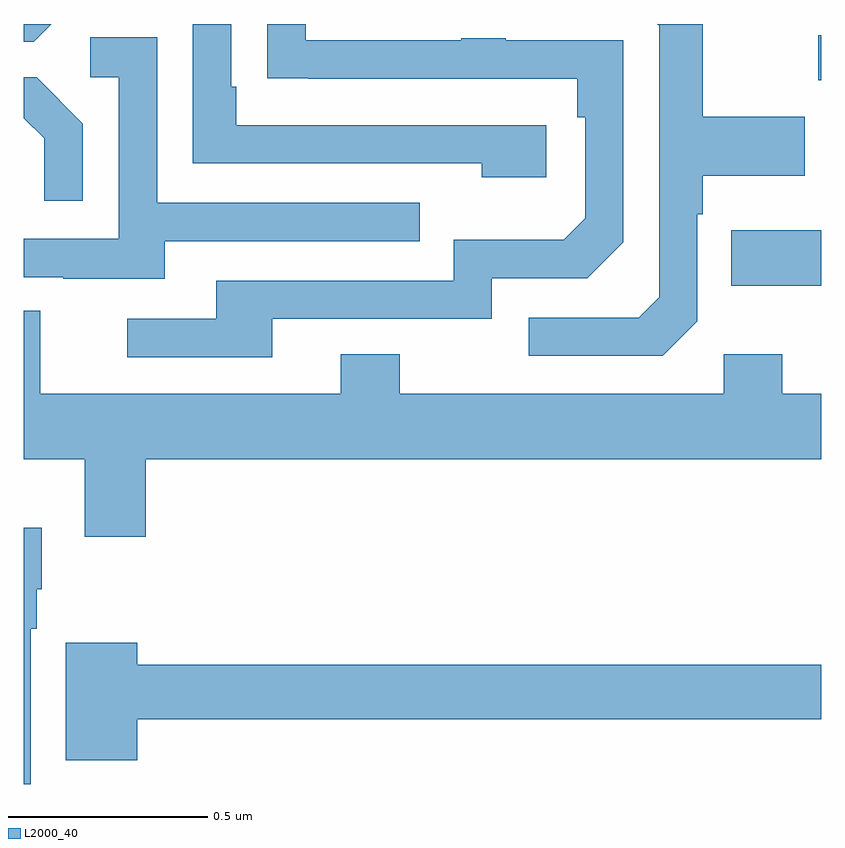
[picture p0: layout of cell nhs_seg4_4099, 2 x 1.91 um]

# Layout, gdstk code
import gdstk
lib = gdstk.Library(unit=1e-6, precision=1e-09)
def R(c, l, rs):  # rectangles x0, y0, x1, y1
    for r in rs: c.add(gdstk.rectangle(r[:2], r[2:], *l))
def P(c, l, *ps):  # polygons
    for p in ps: c.add(gdstk.Polygon(p, *l))
L2000_40 = (2000, 40)

nhs_seg4_4099 = lib.new_cell('nhs_seg4_4099')
R(nhs_seg4_4099, L2000_40, [(162.775,809.243,163,809.383), (162.993,809.759,163,809.872)])
P(nhs_seg4_4099, L2000_40, [(161.069,809.9),(161,809.9),(161,809.856),(161.025,809.856)],
  [(162.31,809.646),(161.533,809.646),(161.533,809.743),(161.52,809.743),(161.52,809.9),(161.424,809.9),(161.424,809.55),(162.149,809.55),(162.149,809.516),(162.31,809.516)],
  [(161.623,809.16),(162.174,809.16),(162.174,809.262),(162.414,809.262),(162.504,809.352),(162.504,809.859),(162.209,809.859),(162.209,809.864),(162.097,809.864),(162.097,809.859),(161.707,809.859),(161.707,809.9),(161.611,809.9),(161.611,809.764),(161.713,809.764),(161.713,809.763),(162.388,809.763),(162.388,809.666),(162.408,809.666),(162.408,809.412),(162.355,809.359),(162.078,809.359),(162.078,809.256),(161.483,809.256),(161.483,809.16),(161.259,809.16),(161.259,809.064),(161.623,809.064)],
  [(162.69,809.154),(162.69,809.423),(162.703,809.423),(162.703,809.519),(162.959,809.519),(162.959,809.667),(162.703,809.667),(162.703,809.9),(162.589,809.9),(162.594,809.895),(162.594,809.214),(162.543,809.163),(162.267,809.163),(162.267,809.067),(162.603,809.067)],
  [(161.353,809.355),(161.993,809.355),(161.993,809.451),(161.334,809.451),(161.334,809.867),(161.166,809.867),(161.166,809.766),(161.238,809.766),(161.238,809.361),(161,809.361),(161,809.265),(161.099,809.265),(161.099,809.261),(161.353,809.261)],
  [(161.148,809.65),(161.032,809.766),(161,809.766),(161,809.664),(161.051,809.613),(161.051,809.457),(161.148,809.457)],
  [(161.306,808.808),(163,808.808),(163,808.972),(162.903,808.972),(162.903,809.071),(162.756,809.071),(162.756,808.972),(161.943,808.972),(161.943,809.071),(161.795,809.071),(161.795,808.972),(161.041,808.972),(161.041,809.18),(161,809.18),(161,808.808),(161.153,808.808),(161.153,808.614),(161.306,808.614)],
  [(161.017,808.382),(161.032,808.382),(161.032,808.482),(161.044,808.482),(161.044,808.636),(161,808.636),(161,807.993),(161.017,807.993)],
  [(161.284,808.156),(163,808.156),(163,808.292),(161.284,808.292),(161.284,808.348),(161.105,808.348),(161.105,808.052),(161.284,808.052)])

lib.write_gds('nhs_seg4_4099.gds')
